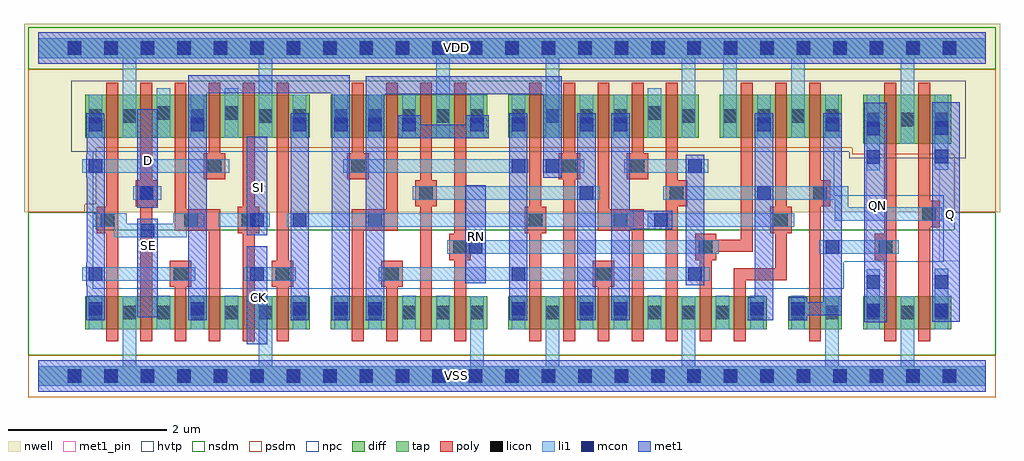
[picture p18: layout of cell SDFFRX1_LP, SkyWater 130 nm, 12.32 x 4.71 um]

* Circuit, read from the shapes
.subckt SDFFRX1_LP CK D Q QN RN SE SI VDD VSS
XM1 VSS SE n1 VSS sky130_fd_pr__nfet_01v8 w=0.42 l=0.15
XM2 n2 D VSS VSS sky130_fd_pr__nfet_01v8 w=0.42 l=0.15
XM3 n3 n1 n2 VSS sky130_fd_pr__nfet_01v8 w=0.42 l=0.15
XM4 n4 SE n3 VSS sky130_fd_pr__nfet_01v8 w=0.42 l=0.15
XM5 VSS SI n4 VSS sky130_fd_pr__nfet_01v8 w=0.42 l=0.15
XM6 n5 CK VSS VSS sky130_fd_pr__nfet_01v8 w=0.42 l=0.15
XM7 n6 n5 n3 VSS sky130_fd_pr__nfet_01v8 w=0.42 l=0.15
XM8 n7 n8 n6 VSS sky130_fd_pr__nfet_01v8 w=0.42 l=0.15
XM9 n9 n10 n7 VSS sky130_fd_pr__nfet_01v8 w=0.42 l=0.15
XM10 VSS RN n9 VSS sky130_fd_pr__nfet_01v8 w=0.42 l=0.15
XM11 VSS n5 n8 VSS sky130_fd_pr__nfet_01v8 w=0.42 l=0.15
XM12 n10 n6 VSS VSS sky130_fd_pr__nfet_01v8 w=0.42 l=0.15
XM13 n11 n8 n10 VSS sky130_fd_pr__nfet_01v8 w=0.42 l=0.15
XM14 n12 n5 n11 VSS sky130_fd_pr__nfet_01v8 w=0.42 l=0.15
XM15 VSS n13 n12 VSS sky130_fd_pr__nfet_01v8 w=0.42 l=0.15
XM16 n14 RN VSS VSS sky130_fd_pr__nfet_01v8 w=0.42 l=0.15
XM17 n13 n11 n14 VSS sky130_fd_pr__nfet_01v8 w=0.42 l=0.15
XM18 VSS n13 n15 VSS sky130_fd_pr__nfet_01v8 w=0.42 l=0.15
XM19 VSS n15 QN VSS sky130_fd_pr__nfet_01v8 w=0.42 l=0.15
XM20 Q n13 VSS VSS sky130_fd_pr__nfet_01v8 w=0.42 l=0.15
XM21 VDD SE n1 VDD sky130_fd_pr__pfet_01v8_hvt w=0.54 l=0.15
XM22 n16 D VDD VDD sky130_fd_pr__pfet_01v8_hvt w=0.54 l=0.15
XM23 n3 SE n16 VDD sky130_fd_pr__pfet_01v8_hvt w=0.54 l=0.15
XM24 n17 n1 n3 VDD sky130_fd_pr__pfet_01v8_hvt w=0.54 l=0.15
XM25 VDD SI n17 VDD sky130_fd_pr__pfet_01v8_hvt w=0.54 l=0.15
XM26 n5 CK VDD VDD sky130_fd_pr__pfet_01v8_hvt w=0.54 l=0.15
XM27 n6 n8 n3 VDD sky130_fd_pr__pfet_01v8_hvt w=0.54 l=0.15
XM28 n18 n5 n6 VDD sky130_fd_pr__pfet_01v8_hvt w=0.54 l=0.15
XM29 VDD n10 n18 VDD sky130_fd_pr__pfet_01v8_hvt w=0.54 l=0.15
XM30 n18 RN VDD VDD sky130_fd_pr__pfet_01v8_hvt w=0.54 l=0.15
XM31 VDD n5 n8 VDD sky130_fd_pr__pfet_01v8_hvt w=0.54 l=0.15
XM32 n10 n6 VDD VDD sky130_fd_pr__pfet_01v8_hvt w=0.54 l=0.15
XM33 n11 n5 n10 VDD sky130_fd_pr__pfet_01v8_hvt w=0.54 l=0.15
XM34 n19 n8 n11 VDD sky130_fd_pr__pfet_01v8_hvt w=0.54 l=0.15
XM35 VDD n13 n19 VDD sky130_fd_pr__pfet_01v8_hvt w=0.54 l=0.15
XM36 n13 RN VDD VDD sky130_fd_pr__pfet_01v8_hvt w=0.54 l=0.15
XM37 VDD n11 n13 VDD sky130_fd_pr__pfet_01v8_hvt w=0.54 l=0.15
XM38 n15 n13 VDD VDD sky130_fd_pr__pfet_01v8_hvt w=0.54 l=0.15
XM39 VDD n15 QN VDD sky130_fd_pr__pfet_01v8_hvt w=0.62 l=0.15
XM40 Q n13 VDD VDD sky130_fd_pr__pfet_01v8_hvt w=0.62 l=0.15
.ends

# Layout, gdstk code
from math import pi, radians
import gdstk
lib = gdstk.Library(unit=1e-6, precision=1e-09)
def R(c, l, rs):  # rectangles x0, y0, x1, y1
    for r in rs: c.add(gdstk.rectangle(r[:2], r[2:], *l))
def A(c, l, x, y, w, h, nx, ny, dx, dy):  # array of equal rectangles
    R(c, l, [(x+i*dx, y+j*dy, x+i*dx+w, y+j*dy+h) for i in range(nx) for j in range(ny)])
def P(c, l, *ps):  # polygons
    for p in ps: c.add(gdstk.Polygon(p, *l))
nwell = (64, 20)
diff = (65, 20)
tap = (65, 44)
poly = (66, 20)
licon = (66, 44)
li1 = (67, 20)
mcon = (67, 44)
met1_pin = (68, 16)
met1 = (68, 20)
hvtp = (78, 44)
nsdm = (93, 44)
psdm = (94, 20)
npc = (95, 20)

licondiff_c_cdns_7587293 = lib.new_cell('LICONDIFF_C_CDNS_758729379657')
R(licondiff_c_cdns_7587293, diff, [(-0.125,-0.145,0.125,0.145)])
R(licondiff_c_cdns_7587293, licon, [(-0.085,-0.085,0.085,0.085), (-0.085,-0.085,0.085,0.085)])

l1m1_c_cdns_758729379655 = lib.new_cell('L1M1_C_CDNS_758729379655')
R(l1m1_c_cdns_758729379655, li1, [(-0.085,-0.165,0.085,0.165)])
R(l1m1_c_cdns_758729379655, mcon, [(-0.085,-0.085,0.085,0.085)])
R(l1m1_c_cdns_758729379655, met1, [(-0.115,-0.145,0.115,0.145)])

l1m1_c_cdns_758729379654 = lib.new_cell('L1M1_C_CDNS_758729379654')
R(l1m1_c_cdns_758729379654, li1, [(-0.165,-0.085,0.165,0.085)])
R(l1m1_c_cdns_758729379654, mcon, [(-0.085,-0.085,0.085,0.085)])
R(l1m1_c_cdns_758729379654, met1, [(-0.115,-0.145,0.115,0.145)])

l1m1_c_cdns_758729379651 = lib.new_cell('L1M1_C_CDNS_7587293796519')
R(l1m1_c_cdns_758729379651, li1, [(-0.125,-0.085,0.125,0.085)])
R(l1m1_c_cdns_758729379651, mcon, [(-0.085,-0.085,0.085,0.085)])
R(l1m1_c_cdns_758729379651, met1, [(-0.115,-0.145,0.115,0.145)])

c_l1m1_c_cdns_758729379651 = lib.new_cell('L1M1_C_CDNS_7587293796512')
R(c_l1m1_c_cdns_758729379651, li1, [(-0.165,-0.085,0.165,0.085)])
R(c_l1m1_c_cdns_758729379651, mcon, [(-0.085,-0.085,0.085,0.085)])
R(c_l1m1_c_cdns_758729379651, met1, [(-0.145,-0.115,0.145,0.115)])

pyl1con_c_cdns_758729379 = lib.new_cell('PYL1CON_C_CDNS_758729379653')
R(pyl1con_c_cdns_758729379, poly, [(-0.135,-0.165,0.135,0.165)])
R(pyl1con_c_cdns_758729379, licon, [(-0.085,-0.085,0.085,0.085)])
R(pyl1con_c_cdns_758729379, npc, [(-0.185,-0.185,0.185,0.185)])

c_pyl1con_c_cdns_758729379 = lib.new_cell('PYL1CON_C_CDNS_7587293796520')
R(c_pyl1con_c_cdns_758729379, poly, [(-0.135,-0.37,0.135,0.21)])
R(c_pyl1con_c_cdns_758729379, licon, [(-0.085,-0.085,0.085,0.085)])
R(c_pyl1con_c_cdns_758729379, npc, [(-0.185,-0.185,0.185,0.185)])

c_pyl1con_c_cdns_758729379_ = lib.new_cell('PYL1CON_C_CDNS_7587293796516')
R(c_pyl1con_c_cdns_758729379_, poly, [(-0.135,-0.29,0.135,0.29)])
R(c_pyl1con_c_cdns_758729379_, licon, [(-0.085,-0.085,0.085,0.085)])
R(c_pyl1con_c_cdns_758729379_, npc, [(-0.185,-0.185,0.185,0.185)])

l1m1_c_cdns_758729379652 = lib.new_cell('L1M1_C_CDNS_758729379652')
R(l1m1_c_cdns_758729379652, li1, [(-0.085,-0.165,0.085,0.165)])
R(l1m1_c_cdns_758729379652, mcon, [(-0.085,-0.085,0.085,0.085)])
R(l1m1_c_cdns_758729379652, met1, [(-0.145,-0.115,0.145,0.115)])

l1m1_c_cdns_758729379659 = lib.new_cell('L1M1_C_CDNS_758729379659')
R(l1m1_c_cdns_758729379659, li1, [(-0.085,-0.345,0.085,0.345)])
R(l1m1_c_cdns_758729379659, mcon, [(-0.085,-0.265,0.085,-0.095), (-0.085,0.095,0.085,0.265)])
R(l1m1_c_cdns_758729379659, met1, [(-0.115,-0.325,0.115,0.325)])

sdffrx1_lp = lib.new_cell('SDFFRX1_LP')
R(sdffrx1_lp, nwell, [(-0.18,2.07,12.14,4.445)])
R(sdffrx1_lp, diff, [(0.595,0.59,3.425,1.01), (3.695,0.59,5.665,1.01), (5.935,0.59,9.195,1.01), (9.465,0.59,10.145,1.01), (10.415,0.59,11.525,1.01), (10.415,2.93,11.525,3.55), (0.595,3.01,3.425,3.55), (3.695,3.01,5.665,3.55), (5.935,3.01,8.335,3.55), (8.605,3.01,10.145,3.55)])
A(sdffrx1_lp, poly, 1.72, 0.44, 0.15, 0.72, 3, 1, 2.67, 0)
R(sdffrx1_lp, poly, [(0.86,0.44,1.01,3.7), (1.29,0.44,1.44,3.7), (2.58,0.44,2.73,3.7), (3.01,0.44,3.16,3.7), (4.82,0.44,4.97,3.7), (5.25,0.44,5.4,3.7), (6.2,0.44,6.35,3.7), (6.63,0.44,6.78,3.7), (7.92,0.44,8.07,3.7), (9.73,0.44,9.88,3.7), (10.68,0.44,10.83,3.7), (11.11,0.44,11.26,3.7), (2.15,2.65,2.3,3.7), (3.96,2.65,4.11,3.7), (7.49,2.65,7.64,3.7)])
P(sdffrx1_lp, poly, [(2.3,2.045),(1.87,2.045),(1.87,3.7),(1.72,3.7),(1.72,1.895),(2.15,1.895),(2.15,0.44),(2.3,0.44)],
  [(4.54,3.7),(4.39,3.7),(4.39,2.045),(3.96,2.045),(3.96,0.44),(4.11,0.44),(4.11,1.895),(4.54,1.895)],
  [(7.64,2.045),(7.21,2.045),(7.21,3.7),(7.06,3.7),(7.06,1.895),(7.49,1.895),(7.49,0.44),(7.64,0.44)],
  [(9.02,3.7),(8.87,3.7),(8.87,1.72),(8.35,1.72),(8.35,0.44),(8.5,0.44),(8.5,1.57),(9.02,1.57)],
  [(9.45,3.7),(9.3,3.7),(9.3,1.36),(8.78,1.36),(8.78,0.44),(8.93,0.44),(8.93,1.21),(9.45,1.21)])
A(sdffrx1_lp, licon, 0.375, -0.085, 0.17, 0.17, 25, 2, 0.46, 4.14)
A(sdffrx1_lp, licon, 0.635, 0.715, 0.17, 0.17, 7, 1, 0.43, 0)
A(sdffrx1_lp, licon, 3.735, 0.715, 0.17, 0.17, 5, 2, 0.43, 2.48)
A(sdffrx1_lp, licon, 5.975, 0.715, 0.17, 0.17, 6, 1, 0.43, 0)
A(sdffrx1_lp, licon, 10.455, 0.715, 0.17, 0.17, 3, 2, 0.43, 2.44)
A(sdffrx1_lp, licon, 1.065, 3.195, 0.17, 0.17, 3, 1, 0.86, 0)
A(sdffrx1_lp, licon, 5.975, 3.195, 0.17, 0.17, 4, 1, 0.43, 0)
A(sdffrx1_lp, licon, 8.645, 3.195, 0.17, 0.17, 4, 1, 0.43, 0)
R(sdffrx1_lp, licon, [(8.985,0.715,9.155,0.885), (9.505,0.715,9.675,0.885), (9.935,0.715,10.105,0.885), (0.635,3.195,0.805,3.365), (3.215,3.195,3.385,3.365), (8.125,3.195,8.295,3.365)])
A(sdffrx1_lp, li1, 0.635, 0.59, 0.17, 0.42, 3, 1, 1.29, 0)
A(sdffrx1_lp, li1, 0.635, 3.01, 0.17, 0.54, 3, 1, 1.29, 0)
A(sdffrx1_lp, li1, 3.735, 3.01, 0.17, 0.54, 3, 1, 0.43, 0)
R(sdffrx1_lp, li1, [(1.495,0.59,1.665,1.015), (2.355,0.59,2.525,1.015), (3.735,0.59,3.905,1.01), (4.165,0.59,4.335,1.01), (4.595,0.59,4.765,1.015), (5.025,0.59,5.195,1.015), (5.975,0.59,6.145,1.01), (6.835,0.59,7.005,1.01), (7.265,0.59,7.435,1.01), (7.695,0.59,7.865,1.015), (8.985,0.59,9.155,1.01), (9.505,0.59,9.675,1.01), (10.455,0.59,10.625,1.01), (11.315,0.59,11.485,1.01), (10.455,2.93,10.625,3.55), (11.315,2.93,11.485,3.55), (5.455,3.01,5.625,3.55), (5.975,3.01,6.145,3.55), (6.835,3.01,7.005,3.55), (7.265,3.01,7.435,3.55), (9.075,3.01,9.245,3.55), (9.935,3.01,10.105,3.55)])
P(sdffrx1_lp, li1, [(2.095,2.055),(1.705,2.055),(1.705,1.925),(1.12,1.925),(1.12,2.055),(0.69,2.055),(0.69,1.885),(0.95,1.885),(0.95,1.755),(1.875,1.755),(1.875,1.885),(2.095,1.885)],
  [(11.41,2.13),(10.225,2.13),(10.225,2.395),(7.89,2.395),(7.89,2.225),(10.055,2.225),(10.055,1.96),(11.41,1.96)],
  [(11.96,4.265),(0,4.265),(0,4.015),(1.065,4.015),(1.065,3.01),(1.235,3.01),(1.235,4.015),(2.785,4.015),(2.785,3.01),(2.955,3.01),(2.955,4.015),(5.025,4.015),(5.025,3.01),(5.195,3.01),(5.195,4.015),(6.405,4.015),(6.405,3.01),(6.575,3.01),(6.575,4.015),(8.125,4.015),(8.125,3.01),(8.295,3.01),(8.295,4.015),(8.645,4.015),(8.645,3.01),(8.815,3.01),(8.815,4.015),(9.505,4.015),(9.505,3.01),(9.675,3.01),(9.675,4.015),(10.885,4.015),(10.885,2.93),(11.055,2.93),(11.055,4.015),(11.96,4.015)],
  [(11.96,0.125),(11.055,0.125),(11.055,1.01),(10.885,1.01),(10.885,0.125),(10.105,0.125),(10.105,1.01),(9.935,1.01),(9.935,0.125),(8.295,0.125),(8.295,1.01),(8.125,1.01),(8.125,0.125),(6.575,0.125),(6.575,1.01),(6.405,1.01),(6.405,0.125),(5.625,0.125),(5.625,1.01),(5.455,1.01),(5.455,0.125),(2.955,0.125),(2.955,1.01),(2.785,1.01),(2.785,0.125),(1.235,0.125),(1.235,1.01),(1.065,1.01),(1.065,0.125),(0,0.125),(0,-0.125),(11.96,-0.125)])
A(sdffrx1_lp, mcon, 0.375, -0.085, 0.17, 0.17, 25, 2, 0.46, 4.14)
R(sdffrx1_lp, met1_pin, [(2.63,0.4,2.89,1.64), (1.25,0.745,1.51,1.985), (5.39,1.17,5.65,2.41), (11.37,1.45,11.63,2.69), (10.45,1.56,10.71,2.8), (2.63,1.78,2.89,3.02), (1.25,2.125,1.51,3.365)])
R(sdffrx1_lp, met1, [(10.425,0.68,10.71,3.45)])
P(sdffrx1_lp, met1, [(8.005,2.085),(7.465,2.085),(7.465,3.235),(7.235,3.235),(7.235,0.705),(7.465,0.705),(7.465,1.855),(8.005,1.855)],
  [(10.14,3.235),(9.91,3.235),(9.91,0.935),(9.59,0.935),(9.59,0.765),(10.14,0.765)],
  [(11.63,3.455),(11.285,3.455),(11.285,0.69),(11.37,0.69),(11.37,0.685),(11.63,0.685)])
P(sdffrx1_lp, hvtp, [(11.705,3.73),(0.415,3.73),(0.415,2.83),(10.235,2.83),(10.235,2.75),(11.705,2.75)])
R(sdffrx1_lp, nsdm, [(-0.125,3.875,12.085,4.405)])
P(sdffrx1_lp, nsdm, [(12.085,2.07),(11.56,2.07),(11.56,1.845),(0.735,1.845),(0.735,2.07),(-0.125,2.07),(-0.125,0.265),(12.085,0.265)])
R(sdffrx1_lp, psdm, [(-0.125,-0.265,12.085,0.265)])
P(sdffrx1_lp, psdm, [(12.085,3.875),(-0.125,3.875),(-0.125,2.07),(0.585,2.07),(0.585,2.17),(0.735,2.17),(0.735,2.88),(10.275,2.88),(10.275,2.8),(11.56,2.8),(11.56,2.07),(12.085,2.07)])
P(sdffrx1_lp, npc, [(11.43,2.28),(10.05,2.28),(10.05,2.835),(0.69,2.835),(0.69,1.105),(10.17,1.105),(10.17,1.445),(11.43,1.445)])
sdffrx1_lp.add(gdstk.FlexPath([(1.55,2.31),(1.2,2.31)], 0.17, ends="flush", simple_path=True, layer=67, datatype=20))  # li1
sdffrx1_lp.add(gdstk.FlexPath([(0.555,1.29),(1.98,1.29)], 0.17, ends="flush", simple_path=True, layer=67, datatype=20))  # li1
sdffrx1_lp.add(gdstk.FlexPath([(2.44,3.01),(2.44,3.635)], 0.17, ends="flush", simple_path=True, layer=67, datatype=20))  # li1
sdffrx1_lp.add(gdstk.FlexPath([(3.25,1.29),(2.705,1.29)], 0.17, ends="flush", simple_path=True, layer=67, datatype=20))  # li1
sdffrx1_lp.add(gdstk.FlexPath([(2.82,1.97),(2.275,1.97)], 0.17, ends="flush", simple_path=True, layer=67, datatype=20))  # li1
sdffrx1_lp.add(gdstk.FlexPath([(9.88,1.63),(10.86,1.63)], 0.17, ends="flush", simple_path=True, layer=67, datatype=20))  # li1
sdffrx1_lp.add(gdstk.FlexPath([(1.58,3.01),(1.58,3.635)], 0.17, ends="flush", simple_path=True, layer=67, datatype=20))  # li1
sdffrx1_lp.add(gdstk.FlexPath([(6.365,2.65),(6.89,2.65)], 0.17, ends="flush", simple_path=True, layer=67, datatype=20))  # li1
sdffrx1_lp.add(gdstk.FlexPath([(3.85,2.65),(6.185,2.65)], 0.17, ends="flush", simple_path=True, layer=67, datatype=20))  # li1
sdffrx1_lp.add(gdstk.FlexPath([(7.085,2.31),(4.73,2.31)], 0.17, ends="flush", simple_path=True, layer=67, datatype=20))  # li1
sdffrx1_lp.add(gdstk.FlexPath([(7.78,3.01),(7.78,3.635)], 0.17, ends="flush", simple_path=True, layer=67, datatype=20))  # li1
sdffrx1_lp.add(gdstk.FlexPath([(0.555,2.65),(2.41,2.65)], 0.17, ends="flush", simple_path=True, layer=67, datatype=20))  # li1
sdffrx1_lp.add(gdstk.FlexPath([(3.135,1.97),(7.515,1.97)], 0.17, ends="flush", simple_path=True, layer=67, datatype=20))  # li1
sdffrx1_lp.add(gdstk.FlexPath([(8.64,0.59),(8.64,1.015)], 0.17, ends="flush", simple_path=True, layer=67, datatype=20))  # li1
sdffrx1_lp.add(gdstk.FlexPath([(7.4,2.65),(8.44,2.65)], 0.17, ends="flush", simple_path=True, layer=67, datatype=20))  # li1
sdffrx1_lp.add(gdstk.FlexPath([(4.3,1.29),(8.475,1.29)], 0.17, ends="flush", simple_path=True, layer=67, datatype=20))  # li1
sdffrx1_lp.add(gdstk.FlexPath([(7.695,1.97),(9.54,1.97)], 0.17, ends="flush", simple_path=True, layer=67, datatype=20))  # li1
sdffrx1_lp.add(gdstk.FlexPath([(5.16,1.63),(8.59,1.63)], 0.17, ends="flush", simple_path=True, layer=67, datatype=20))  # li1
sdffrx1_lp.add(gdstk.FlexPath([(0,4.14),(11.96,4.14)], 0.4, ends="flush", simple_path=True, layer=68, datatype=20))  # met1
sdffrx1_lp.add(gdstk.FlexPath([(0,0),(11.96,0)], 0.4, ends="flush", simple_path=True, layer=68, datatype=20))  # met1
sdffrx1_lp.add(gdstk.FlexPath([(3.3,0.705),(3.3,3.235)], 0.23, ends="flush", simple_path=True, layer=68, datatype=20))  # met1
sdffrx1_lp.add(gdstk.FlexPath([(0.725,0.71),(0.725,3.24)], 0.23, ends="flush", simple_path=True, layer=68, datatype=20))  # met1
sdffrx1_lp.add(gdstk.FlexPath([(9.16,0.705),(9.16,3.235)], 0.23, ends="flush", simple_path=True, layer=68, datatype=20))  # met1
sdffrx1_lp.add(gdstk.FlexPath([(3.82,0.705),(3.82,3.685),(2.01,3.685),(2.01,0.705)], 0.23, ends="flush", simple_path=True, layer=68, datatype=20))  # met1
sdffrx1_lp.add(gdstk.FlexPath([(1.38,0.745),(1.38,1.985)], 0.26, ends="flush", simple_path=True, layer=68, datatype=20))  # met1
sdffrx1_lp.add(gdstk.FlexPath([(8.29,1.145),(8.29,2.795)], 0.23, ends="flush", simple_path=True, layer=68, datatype=20))  # met1
sdffrx1_lp.add(gdstk.FlexPath([(2.76,0.4),(2.76,1.64)], 0.26, ends="flush", simple_path=True, layer=68, datatype=20))  # met1
sdffrx1_lp.add(gdstk.FlexPath([(2.76,1.78),(2.76,3.02)], 0.26, ends="flush", simple_path=True, layer=68, datatype=20))  # met1
sdffrx1_lp.add(gdstk.FlexPath([(1.38,2.125),(1.38,3.365)], 0.26, ends="flush", simple_path=True, layer=68, datatype=20))  # met1
sdffrx1_lp.add(gdstk.FlexPath([(5.52,1.17),(5.52,2.41)], 0.26, ends="flush", simple_path=True, layer=68, datatype=20))  # met1
sdffrx1_lp.add(gdstk.FlexPath([(6.49,2.655),(6.49,3.67),(4.25,3.67),(4.25,0.885)], 0.23, ends="flush", simple_path=True, layer=68, datatype=20))  # met1
sdffrx1_lp.add(gdstk.FlexPath([(6.92,0.705),(6.92,3.235)], 0.23, ends="flush", simple_path=True, layer=68, datatype=20))  # met1
sdffrx1_lp.add(gdstk.FlexPath([(6.06,0.705),(6.06,3.235)], 0.23, ends="flush", simple_path=True, layer=68, datatype=20))  # met1
sdffrx1_lp.add(gdstk.FlexPath([(4.535,3.09),(5.685,3.09)], 0.17, ends="flush", simple_path=True, layer=68, datatype=20))  # met1
sdffrx1_lp.add(gdstk.FlexPath([(0,4.14),(11.96,4.14)], 0.25, ends="flush", simple_path=True, layer=65, datatype=44))  # tap
sdffrx1_lp.add(gdstk.FlexPath([(0,0),(11.96,0)], 0.25, ends="flush", simple_path=True, layer=65, datatype=44))  # tap
sdffrx1_lp.add(gdstk.FlexPath([(0,4.14),(11.96,4.14)], 0.4, ends="flush", simple_path=True, layer=68, datatype=16))  # met1_pin
sdffrx1_lp.add(gdstk.FlexPath([(0,0),(11.96,0)], 0.4, ends="flush", simple_path=True, layer=68, datatype=16))  # met1_pin
sdffrx1_lp.add(gdstk.Reference(licondiff_c_cdns_7587293, (8.64,0.8)))
sdffrx1_lp.add(gdstk.Reference(licondiff_c_cdns_7587293, (7.78,3.32)))
sdffrx1_lp.add(gdstk.Reference(licondiff_c_cdns_7587293, (7.78,0.8)))
sdffrx1_lp.add(gdstk.Reference(licondiff_c_cdns_7587293, (5.11,0.8)))
sdffrx1_lp.add(gdstk.Reference(licondiff_c_cdns_7587293, (4.68,0.8)))
sdffrx1_lp.add(gdstk.Reference(licondiff_c_cdns_7587293, (2.44,0.8)))
sdffrx1_lp.add(gdstk.Reference(licondiff_c_cdns_7587293, (2.44,3.32)))
sdffrx1_lp.add(gdstk.Reference(licondiff_c_cdns_7587293, (1.58,0.8)))
sdffrx1_lp.add(gdstk.Reference(licondiff_c_cdns_7587293, (1.58,3.32)))
sdffrx1_lp.add(gdstk.Reference(l1m1_c_cdns_758729379655, (9.59,0.85)))
sdffrx1_lp.add(gdstk.Reference(l1m1_c_cdns_758729379655, (10.025,3.175)))
sdffrx1_lp.add(gdstk.Reference(l1m1_c_cdns_758729379655, (9.16,3.175)))
sdffrx1_lp.add(gdstk.Reference(l1m1_c_cdns_758729379655, (9.07,0.85)))
sdffrx1_lp.add(gdstk.Reference(l1m1_c_cdns_758729379655, (3.82,0.85)))
sdffrx1_lp.add(gdstk.Reference(l1m1_c_cdns_758729379655, (3.82,3.175)))
sdffrx1_lp.add(gdstk.Reference(l1m1_c_cdns_758729379655, (7.35,0.85)))
sdffrx1_lp.add(gdstk.Reference(l1m1_c_cdns_758729379655, (7.35,3.175)))
sdffrx1_lp.add(gdstk.Reference(l1m1_c_cdns_758729379655, (6.92,3.175)))
sdffrx1_lp.add(gdstk.Reference(l1m1_c_cdns_758729379655, (6.92,0.85)))
sdffrx1_lp.add(gdstk.Reference(l1m1_c_cdns_758729379655, (6.06,3.175)))
sdffrx1_lp.add(gdstk.Reference(l1m1_c_cdns_758729379655, (6.06,0.85)))
sdffrx1_lp.add(gdstk.Reference(l1m1_c_cdns_758729379655, (4.25,0.85)))
sdffrx1_lp.add(gdstk.Reference(l1m1_c_cdns_758729379655, (4.25,3.175)))
sdffrx1_lp.add(gdstk.Reference(l1m1_c_cdns_758729379655, (3.3,3.175)))
sdffrx1_lp.add(gdstk.Reference(l1m1_c_cdns_758729379655, (3.3,0.85)))
sdffrx1_lp.add(gdstk.Reference(l1m1_c_cdns_758729379655, (2.01,0.85)))
sdffrx1_lp.add(gdstk.Reference(l1m1_c_cdns_758729379655, (2.01,3.175)))
sdffrx1_lp.add(gdstk.Reference(l1m1_c_cdns_758729379655, (0.72,0.85)))
sdffrx1_lp.add(gdstk.Reference(l1m1_c_cdns_758729379655, (0.72,3.175)))
sdffrx1_lp.add(gdstk.Reference(l1m1_c_cdns_758729379654, (10.025,1.63)))
sdffrx1_lp.add(gdstk.Reference(l1m1_c_cdns_758729379654, (9.16,2.31)))
sdffrx1_lp.add(gdstk.Reference(l1m1_c_cdns_758729379654, (8.29,2.65)))
sdffrx1_lp.add(gdstk.Reference(l1m1_c_cdns_758729379654, (8.29,1.29)))
sdffrx1_lp.add(gdstk.Reference(l1m1_c_cdns_758729379654, (6.92,2.31), rotation=pi, x_reflection=True))
sdffrx1_lp.add(gdstk.Reference(l1m1_c_cdns_758729379654, (6.06,1.29)))
sdffrx1_lp.add(gdstk.Reference(l1m1_c_cdns_758729379654, (5.52,1.63), x_reflection=True))
sdffrx1_lp.add(gdstk.Reference(l1m1_c_cdns_758729379654, (2.76,1.29), x_reflection=True))
sdffrx1_lp.add(gdstk.Reference(l1m1_c_cdns_758729379654, (3.3,1.97)))
sdffrx1_lp.add(gdstk.Reference(l1m1_c_cdns_758729379654, (2.76,1.97), x_reflection=True))
sdffrx1_lp.add(gdstk.Reference(l1m1_c_cdns_758729379654, (1.38,1.84), x_reflection=True))
sdffrx1_lp.add(gdstk.Reference(l1m1_c_cdns_758729379654, (1.365,2.31), x_reflection=True))
sdffrx1_lp.add(gdstk.Reference(l1m1_c_cdns_758729379654, (0.72,2.65)))
sdffrx1_lp.add(gdstk.Reference(l1m1_c_cdns_758729379654, (0.72,1.29)))
sdffrx1_lp.add(gdstk.Reference(l1m1_c_cdns_758729379651, (6.49,2.65)))
sdffrx1_lp.add(gdstk.Reference(l1m1_c_cdns_758729379651, (6.06,2.65)))
sdffrx1_lp.add(gdstk.Reference(c_l1m1_c_cdns_758729379651, (7.86,1.97)))
sdffrx1_lp.add(gdstk.Reference(pyl1con_c_cdns_758729379, (11.245,2.045), rotation=pi, x_reflection=True))
sdffrx1_lp.add(gdstk.Reference(pyl1con_c_cdns_758729379, (10.695,1.63), rotation=pi, x_reflection=True))
sdffrx1_lp.add(gdstk.Reference(pyl1con_c_cdns_758729379, (9.865,2.31), rotation=pi))
sdffrx1_lp.add(gdstk.Reference(pyl1con_c_cdns_758729379, (9.375,1.97), rotation=pi, x_reflection=True))
sdffrx1_lp.add(gdstk.Reference(pyl1con_c_cdns_758729379, (8.425,1.63), rotation=pi, x_reflection=True))
sdffrx1_lp.add(gdstk.Reference(pyl1con_c_cdns_758729379, (7.565,2.65), rotation=pi))
sdffrx1_lp.add(gdstk.Reference(pyl1con_c_cdns_758729379, (7.135,1.29), x_reflection=True))
sdffrx1_lp.add(gdstk.Reference(pyl1con_c_cdns_758729379, (6.275,1.97), x_reflection=True))
sdffrx1_lp.add(gdstk.Reference(pyl1con_c_cdns_758729379, (5.325,1.63), rotation=pi, x_reflection=True))
sdffrx1_lp.add(gdstk.Reference(pyl1con_c_cdns_758729379, (4.895,2.31)))
sdffrx1_lp.add(gdstk.Reference(pyl1con_c_cdns_758729379, (4.465,1.29), rotation=pi))
sdffrx1_lp.add(gdstk.Reference(pyl1con_c_cdns_758729379, (6.705,2.65), rotation=pi))
sdffrx1_lp.add(gdstk.Reference(pyl1con_c_cdns_758729379, (4.035,2.65), x_reflection=True))
sdffrx1_lp.add(gdstk.Reference(pyl1con_c_cdns_758729379, (3.085,1.29), x_reflection=True))
sdffrx1_lp.add(gdstk.Reference(pyl1con_c_cdns_758729379, (2.655,1.97), x_reflection=True))
sdffrx1_lp.add(gdstk.Reference(pyl1con_c_cdns_758729379, (0.875,1.97)))
sdffrx1_lp.add(gdstk.Reference(pyl1con_c_cdns_758729379, (1.365,2.31)))
sdffrx1_lp.add(gdstk.Reference(pyl1con_c_cdns_758729379, (2.225,2.65), rotation=pi))
sdffrx1_lp.add(gdstk.Reference(pyl1con_c_cdns_758729379, (1.795,1.29), x_reflection=True))
sdffrx1_lp.add(gdstk.Reference(pyl1con_c_cdns_758729379, (8.055,2.31), rotation=pi, x_reflection=True))
sdffrx1_lp.add(gdstk.Reference(c_pyl1con_c_cdns_758729379, (1.93,1.97), rotation=pi/2))
sdffrx1_lp.add(gdstk.Reference(c_pyl1con_c_cdns_758729379_, (7.35,1.97), rotation=pi/2))
sdffrx1_lp.add(gdstk.Reference(c_pyl1con_c_cdns_758729379_, (4.25,1.97), rotation=pi/2, x_reflection=True))
sdffrx1_lp.add(gdstk.Reference(l1m1_c_cdns_758729379652, (5.54,3.175)))
sdffrx1_lp.add(gdstk.Reference(l1m1_c_cdns_758729379652, (4.68,3.175)))
sdffrx1_lp.add(gdstk.Reference(l1m1_c_cdns_758729379659, (11.4,1.01)))
sdffrx1_lp.add(gdstk.Reference(l1m1_c_cdns_758729379659, (11.4,2.95)))
sdffrx1_lp.add(gdstk.Reference(l1m1_c_cdns_758729379659, (10.54,1.005)))
sdffrx1_lp.add(gdstk.Reference(l1m1_c_cdns_758729379659, (10.54,2.945)))
sdffrx1_lp.add(gdstk.Label('VDD', (5.285,4.145), layer=68, texttype=5))
sdffrx1_lp.add(gdstk.Label('QN', (10.595,2.155), layer=68, texttype=5))
sdffrx1_lp.add(gdstk.Label('VSS', (5.285,0.005), layer=68, texttype=5))
sdffrx1_lp.add(gdstk.Label('SE', (1.395,1.65), layer=68, texttype=5))
sdffrx1_lp.add(gdstk.Label('Q', (11.515,2.045), layer=68, texttype=5))
sdffrx1_lp.add(gdstk.Label('RN', (5.535,1.765), layer=68, texttype=5))
sdffrx1_lp.add(gdstk.Label('CK', (2.775,0.995), layer=68, texttype=5))
sdffrx1_lp.add(gdstk.Label('SI', (2.775,2.375), layer=68, texttype=5))
sdffrx1_lp.add(gdstk.Label('D', (1.395,2.72), layer=68, texttype=5))

lib.write_gds('SDFFRX1_LP.gds')
